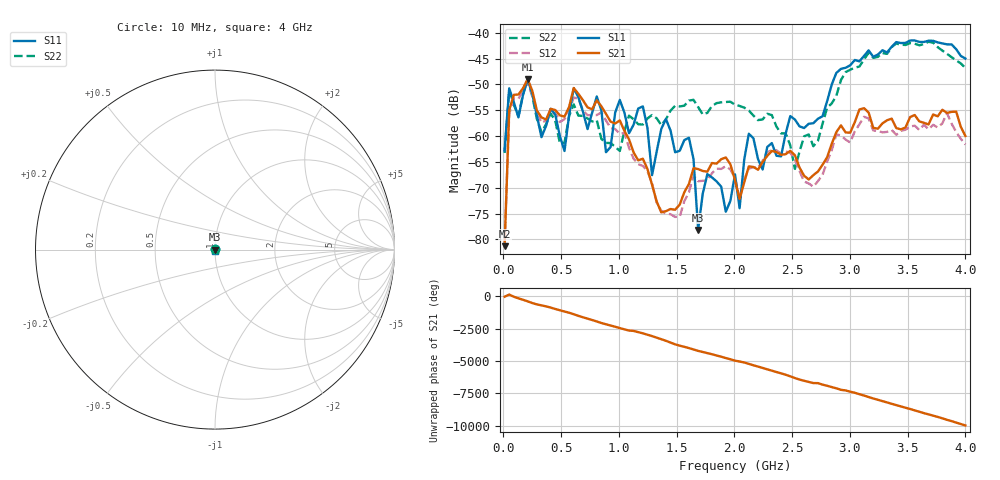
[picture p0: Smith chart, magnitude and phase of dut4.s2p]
! PocketVna 1.81  pocketvna.com
! Live measurements ((Reflection-S11, Transmission-S21, Transmission-S12, Reflection-S22) Linear 10000000-4000000000/101 non-calibrated)
# GHz S MA R 50
! GHz  |S11|  <S11  |S21|  <S21  |S12|  <S12  |S22|  <S22
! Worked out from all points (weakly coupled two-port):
!   101 points, 10 MHz to 4 GHz, reference 50 ohm
!   highest |S21| = -48.97 dB at 209.5 MHz (marker M1); lowest = -81.3 dB at 10 MHz (marker M2)
!   lowest |S11| = -78.1 dB at 1.686 GHz (marker M3), VSWR 1.00, Z = 50 - j0.00197 ohm
!   |S11| at or under -10 dB: start of sweep to end of sweep
!   |S22| runs from -66.3 to -41.7 dB; largest |S21 - S12| = 0.003
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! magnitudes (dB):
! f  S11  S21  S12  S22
! 10 MHz  -62.7  -81.3  -80.7  -63.3
! 49.9 MHz  -50.7  -55.0  -55.7  -51.1
! 209.5 MHz  -49.1  -49.0  -49.7  -49.0
! 528.7 MHz  -62.9  -56.2  -56.7  -61.3
! 608.5 MHz  -50.7  -50.7  -52.5  -53.8
! 688.3 MHz  -55.2  -53.0  -55.0  -56.1
! 808 MHz  -52.3  -53.1  -55.9  -56.9
! 887.8 MHz  -63.1  -55.7  -57.0  -61.3
! 1.207 GHz  -54.2  -64.4  -65.8  -57.8
! 1.287 GHz  -67.5  -69.4  -69.1  -55.9
! 1.367 GHz  -58.6  -74.8  -74.4  -57.9
! 1.606 GHz  -60.3  -69.3  -70.9  -53.1
! 1.686 GHz  -78.1  -66.4  -68.7  -54.4
! 1.766 GHz  -67.3  -66.9  -68.6  -55.5
! 1.925 GHz  -74.6  -64.1  -65.8  -53.4
! 2.005 GHz  -67.4  -68.5  -68.1  -53.9
! 2.045 GHz  -74.0  -72.2  -72.0  -54.2
! 2.125 GHz  -59.5  -65.8  -66.3  -55.0
! 2.244 GHz  -66.5  -65.0  -64.8  -56.8
! 2.683 GHz  -57.5  -67.5  -69.8  -62.0
! 3.362 GHz  -42.7  -56.6  -58.8  -42.8
! 4 GHz  -45.0  -60.0  -61.6  -46.8
